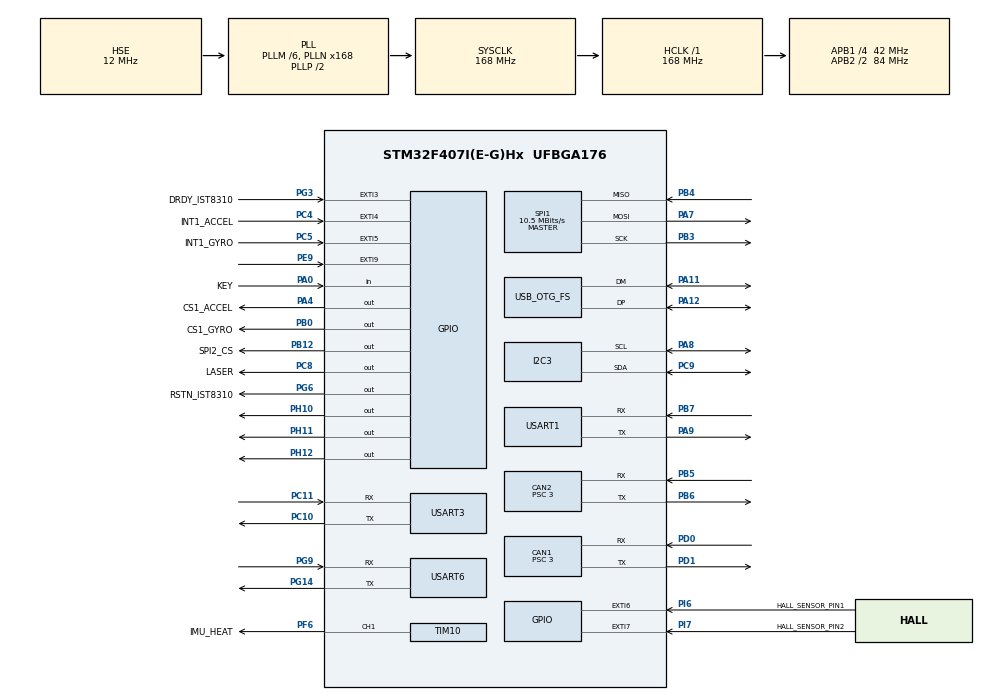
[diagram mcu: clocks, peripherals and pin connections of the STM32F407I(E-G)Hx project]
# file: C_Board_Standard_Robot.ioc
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CAN1.BS1=CAN_BS1_10TQ
CAN1.BS2=CAN_BS2_3TQ
CAN1.CalculateBaudRate=1000000
CAN1.CalculateTimeBit=1000
CAN1.CalculateTimeQuantum=71.42857142857143
CAN1.Prescaler=3
CAN2.BS1=CAN_BS1_10TQ
CAN2.BS2=CAN_BS2_3TQ
CAN2.CalculateBaudRate=1000000
CAN2.CalculateTimeBit=1000
CAN2.CalculateTimeQuantum=71.42857142857143
CAN2.Prescaler=3
Dma.Request0=SPI1_RX
Dma.Request1=SPI1_TX
Dma.Request2=USART1_RX
Dma.Request3=USART1_TX
Dma.Request4=USART3_RX
Dma.Request5=USART3_TX
Dma.Request6=USART6_RX
Dma.Request7=USART6_TX
Dma.SPI1_RX.0.Direction=DMA_PERIPH_TO_MEMORY
Dma.SPI1_RX.0.FIFOMode=DMA_FIFOMODE_DISABLE
Dma.SPI1_RX.0.Instance=DMA2_Stream0
Dma.SPI1_RX.0.MemDataAlignment=DMA_MDATAALIGN_BYTE
Dma.SPI1_RX.0.MemInc=DMA_MINC_ENABLE
Dma.SPI1_RX.0.Mode=DMA_NORMAL
Dma.SPI1_RX.0.PeriphDataAlignment=DMA_PDATAALIGN_BYTE
Dma.SPI1_RX.0.PeriphInc=DMA_PINC_DISABLE
Dma.SPI1_RX.0.Priority=DMA_PRIORITY_VERY_HIGH
Dma.SPI1_TX.1.Direction=DMA_MEMORY_TO_PERIPH
Dma.SPI1_TX.1.FIFOMode=DMA_FIFOMODE_DISABLE
Dma.SPI1_TX.1.Instance=DMA2_Stream3
Dma.SPI1_TX.1.MemDataAlignment=DMA_MDATAALIGN_BYTE
Dma.SPI1_TX.1.MemInc=DMA_MINC_ENABLE
Dma.SPI1_TX.1.Mode=DMA_NORMAL
Dma.SPI1_TX.1.PeriphDataAlignment=DMA_PDATAALIGN_BYTE
Dma.SPI1_TX.1.PeriphInc=DMA_PINC_DISABLE
Dma.SPI1_TX.1.Priority=DMA_PRIORITY_HIGH
Dma.USART1_RX.2.Direction=DMA_PERIPH_TO_MEMORY
Dma.USART1_RX.2.FIFOMode=DMA_FIFOMODE_DISABLE
Dma.USART1_RX.2.Instance=DMA2_Stream2
Dma.USART1_RX.2.MemDataAlignment=DMA_MDATAALIGN_BYTE
Dma.USART1_RX.2.MemInc=DMA_MINC_ENABLE
Dma.USART1_RX.2.Mode=DMA_NORMAL
Dma.USART1_RX.2.PeriphDataAlignment=DMA_PDATAALIGN_BYTE
Dma.USART1_RX.2.PeriphInc=DMA_PINC_DISABLE
Dma.USART1_RX.2.Priority=DMA_PRIORITY_VERY_HIGH
Dma.USART1_TX.3.Direction=DMA_MEMORY_TO_PERIPH
Dma.USART1_TX.3.FIFOMode=DMA_FIFOMODE_DISABLE
Dma.USART1_TX.3.Instance=DMA2_Stream7
Dma.USART1_TX.3.MemDataAlignment=DMA_MDATAALIGN_BYTE
Dma.USART1_TX.3.MemInc=DMA_MINC_ENABLE
Dma.USART1_TX.3.Mode=DMA_NORMAL
Dma.USART1_TX.3.PeriphDataAlignment=DMA_PDATAALIGN_BYTE
Dma.USART1_TX.3.PeriphInc=DMA_PINC_DISABLE
Dma.USART1_TX.3.Priority=DMA_PRIORITY_VERY_HIGH
Dma.USART3_RX.4.Direction=DMA_PERIPH_TO_MEMORY
Dma.USART3_RX.4.FIFOMode=DMA_FIFOMODE_DISABLE
Dma.USART3_RX.4.Instance=DMA1_Stream1
Dma.USART3_RX.4.MemDataAlignment=DMA_MDATAALIGN_BYTE
Dma.USART3_RX.4.MemInc=DMA_MINC_ENABLE
Dma.USART3_RX.4.Mode=DMA_NORMAL
Dma.USART3_RX.4.PeriphDataAlignment=DMA_PDATAALIGN_BYTE
Dma.USART3_RX.4.PeriphInc=DMA_PINC_DISABLE
Dma.USART3_RX.4.Priority=DMA_PRIORITY_VERY_HIGH
Dma.USART3_TX.5.Direction=DMA_MEMORY_TO_PERIPH
Dma.USART3_TX.5.FIFOMode=DMA_FIFOMODE_DISABLE
Dma.USART3_TX.5.Instance=DMA1_Stream3
Dma.USART3_TX.5.MemDataAlignment=DMA_MDATAALIGN_BYTE
Dma.USART3_TX.5.MemInc=DMA_MINC_ENABLE
Dma.USART3_TX.5.Mode=DMA_NORMAL
Dma.USART3_TX.5.PeriphDataAlignment=DMA_PDATAALIGN_BYTE
Dma.USART3_TX.5.PeriphInc=DMA_PINC_DISABLE
Dma.USART3_TX.5.Priority=DMA_PRIORITY_VERY_HIGH
Dma.USART6_RX.6.Direction=DMA_PERIPH_TO_MEMORY
Dma.USART6_RX.6.FIFOMode=DMA_FIFOMODE_DISABLE
Dma.USART6_RX.6.Instance=DMA2_Stream1
Dma.USART6_RX.6.MemDataAlignment=DMA_MDATAALIGN_BYTE
Dma.USART6_RX.6.MemInc=DMA_MINC_ENABLE
Dma.USART6_RX.6.Mode=DMA_NORMAL
Dma.USART6_RX.6.PeriphDataAlignment=DMA_PDATAALIGN_BYTE
Dma.USART6_RX.6.PeriphInc=DMA_PINC_DISABLE
Dma.USART6_RX.6.Priority=DMA_PRIORITY_VERY_HIGH
Dma.USART6_TX.7.Direction=DMA_MEMORY_TO_PERIPH
Dma.USART6_TX.7.FIFOMode=DMA_FIFOMODE_DISABLE
Dma.USART6_TX.7.Instance=DMA2_Stream6
Dma.USART6_TX.7.MemDataAlignment=DMA_MDATAALIGN_BYTE
Dma.USART6_TX.7.MemInc=DMA_MINC_ENABLE
Dma.USART6_TX.7.Mode=DMA_NORMAL
Dma.USART6_TX.7.PeriphDataAlignment=DMA_PDATAALIGN_BYTE
Dma.USART6_TX.7.PeriphInc=DMA_PINC_DISABLE
Dma.USART6_TX.7.Priority=DMA_PRIORITY_VERY_HIGH
FREERTOS.INCLUDE_eTaskGetState=1
FREERTOS.INCLUDE_pcTaskGetTaskName=1
FREERTOS.INCLUDE_uxTaskGetStackHighWaterMark=1
FREERTOS.INCLUDE_vTaskCleanUpResources=1
FREERTOS.INCLUDE_vTaskDelayUntil=1
FREERTOS.INCLUDE_xEventGroupSetBitFromISR=1
FREERTOS.INCLUDE_xQueueGetMutexHolder=1
FREERTOS.INCLUDE_xSemaphoreGetMutexHolder=1
FREERTOS.INCLUDE_xTaskAbortDelay=1
FREERTOS.INCLUDE_xTaskGetCurrentTaskHandle=1
FREERTOS.INCLUDE_xTaskGetHandle=1
FREERTOS.INCLUDE_xTimerPendFunctionCall=1
FREERTOS.Tasks01=INSTask,0,1024,StartINSTask,Default,NULL,Dynamic,NULL,NULL
FREERTOS.configTOTAL_HEAP_SIZE=24576
I2C3.I2C_Mode=I2C_Fast
Mcu.Family=STM32F4
Mcu.Name=STM32F407I(E-G)Hx
Mcu.Package=UFBGA176
NVIC.CAN1_RX0_IRQn=true\:5\:0\:false\:false\:true\:true\:true\:true\:true
NVIC.CAN1_TX_IRQn=true\:5\:0\:false\:false\:true\:true\:true\:true\:true
NVIC.CAN2_RX0_IRQn=true\:5\:0\:false\:false\:true\:true\:true\:true\:true
NVIC.CAN2_TX_IRQn=true\:5\:0\:false\:false\:true\:true\:true\:true\:true
NVIC.DMA1_Stream1_IRQn=true\:5\:0\:false\:false\:true\:true\:false\:true\:true
NVIC.DMA1_Stream3_IRQn=true\:5\:0\:false\:false\:true\:true\:false\:true\:true
NVIC.DMA2_Stream0_IRQn=true\:5\:0\:false\:false\:true\:true\:false\:true\:true
NVIC.DMA2_Stream1_IRQn=true\:5\:0\:false\:false\:true\:true\:false\:true\:true
NVIC.DMA2_Stream2_IRQn=true\:5\:0\:true\:false\:false\:true\:false\:true\:true
NVIC.DMA2_Stream3_IRQn=true\:5\:0\:true\:false\:false\:true\:false\:true\:true
NVIC.DMA2_Stream6_IRQn=true\:5\:0\:false\:false\:true\:true\:false\:true\:true
NVIC.DMA2_Stream7_IRQn=true\:5\:0\:false\:false\:true\:true\:false\:true\:true
NVIC.EXTI3_IRQn=true\:5\:0\:true\:false\:true\:true\:true\:true\:true
NVIC.EXTI4_IRQn=true\:5\:0\:true\:false\:true\:true\:true\:true\:true
NVIC.EXTI9_5_IRQn=true\:5\:0\:true\:false\:true\:true\:true\:true\:true
NVIC.OTG_FS_IRQn=true\:5\:0\:false\:false\:true\:true\:true\:true\:true
NVIC.PriorityGroup=NVIC_PRIORITYGROUP_4
NVIC.SPI1_IRQn=true\:5\:0\:false\:false\:true\:true\:true\:true\:true
NVIC.TIM1_BRK_TIM9_IRQn=true\:5\:0\:false\:false\:true\:true\:true\:true\:true
NVIC.TIM1_UP_TIM10_IRQn=true\:5\:0\:false\:false\:true\:true\:true\:true\:true
NVIC.TIM3_IRQn=true\:15\:0\:false\:false\:true\:false\:false\:true\:true
NVIC.TIM8_BRK_TIM12_IRQn=true\:5\:0\:false\:false\:true\:true\:true\:true\:true
NVIC.TIM8_UP_TIM13_IRQn=true\:5\:0\:false\:false\:true\:true\:true\:true\:true
NVIC.TimeBase=TIM3_IRQn
NVIC.TimeBaseIP=TIM3
NVIC.USART1_IRQn=true\:5\:0\:false\:false\:true\:true\:true\:true\:true
NVIC.USART3_IRQn=true\:5\:0\:false\:false\:true\:true\:true\:true\:true
NVIC.USART6_IRQn=true\:5\:0\:false\:false\:true\:true\:true\:true\:true
PA0-WKUP.GPIO_Label=KEY
PA0-WKUP.GPIO_PuPd=GPIO_PULLUP
PA0-WKUP.Signal=GPIO_Input
PA11.Mode=Device_Only
PA11.Signal=USB_OTG_FS_DM
PA12.Mode=Device_Only
PA12.Signal=USB_OTG_FS_DP
PA13.Mode=Serial_Wire
PA13.Signal=SYS_JTMS-SWDIO
PA14.Mode=Serial_Wire
PA14.Signal=SYS_JTCK-SWCLK
PA4.GPIO_Label=CS1_ACCEL
PA4.GPIO_PuPd=GPIO_PULLUP
PA4.GPIO_Speed=GPIO_SPEED_FREQ_HIGH
PA4.PinState=GPIO_PIN_SET
PA4.Signal=GPIO_Output
PA7.GPIO_PuPd=GPIO_PULLUP
PA7.Mode=Full_Duplex_Master
PA7.Signal=SPI1_MOSI
PA8.Mode=I2C
PA8.Signal=I2C3_SCL
PA9.Mode=Asynchronous
PA9.Signal=USART1_TX
PB0.GPIO_Label=CS1_GYRO
PB0.GPIO_PuPd=GPIO_PULLUP
PB0.GPIO_Speed=GPIO_SPEED_FREQ_HIGH
PB0.PinState=GPIO_PIN_SET
PB0.Signal=GPIO_Output
PB12.GPIO_Label=SPI2_CS
PB12.GPIO_PuPd=GPIO_PULLUP
PB12.GPIO_Speed=GPIO_SPEED_FREQ_MEDIUM
PB12.PinState=GPIO_PIN_SET
PB12.Signal=GPIO_Output
PB3.GPIO_PuPd=GPIO_PULLUP
PB3.Mode=Full_Duplex_Master
PB3.Signal=SPI1_SCK
PB4.GPIO_PuPd=GPIO_PULLUP
PB4.Mode=Full_Duplex_Master
PB4.Signal=SPI1_MISO
PB5.Mode=CAN_Activate
PB5.Signal=CAN2_RX
PB6.Mode=CAN_Activate
PB6.Signal=CAN2_TX
PB7.Mode=Asynchronous
PB7.Signal=USART1_RX
PC10.Mode=Asynchronous
PC10.Signal=USART3_TX
PC11.Mode=Asynchronous
PC11.Signal=USART3_RX
PC4.GPIO_Label=INT1_ACCEL
PC4.GPIO_ModeDefaultEXTI=GPIO_MODE_IT_FALLING
PC4.GPIO_PuPd=GPIO_PULLUP
PC4.Signal=GPXTI4
PC5.GPIO_Label=INT1_GYRO
PC5.GPIO_ModeDefaultEXTI=GPIO_MODE_IT_FALLING
PC5.GPIO_PuPd=GPIO_PULLUP
PC5.Signal=GPXTI5
PC8.GPIO_Label=LASER
PC8.Signal=GPIO_Output
PC9.Mode=I2C
PC9.Signal=I2C3_SDA
PD0.Mode=CAN_Activate
PD0.Signal=CAN1_RX
PD1.Mode=CAN_Activate
PD1.Signal=CAN1_TX
PE9.GPIO_PuPd=GPIO_PULLUP
PE9.Signal=GPXTI9
PF6.GPIO_Label=IMU_HEAT
PF6.GPIO_PuPd=GPIO_PULLUP
PF6.GPIO_Speed=GPIO_SPEED_FREQ_HIGH
PF6.Signal=S_TIM10_CH1
PG14.Mode=Asynchronous
PG14.Signal=USART6_TX
PG3.GPIO_Label=DRDY_IST8310
PG3.GPIO_ModeDefaultEXTI=GPIO_MODE_IT_FALLING
PG3.GPIO_PuPd=GPIO_PULLUP
PG3.Signal=GPXTI3
PG6.GPIO_Label=RSTN_IST8310
PG6.GPIO_PuPd=GPIO_PULLUP
PG6.GPIO_Speed=GPIO_SPEED_FREQ_MEDIUM
PG6.PinState=GPIO_PIN_SET
PG6.Signal=GPIO_Output
PG9.Mode=Asynchronous
PG9.Signal=USART6_RX
PH0-OSC_IN.Mode=HSE-External-Oscillator
PH0-OSC_IN.Signal=RCC_OSC_IN
PH1-OSC_OUT.Mode=HSE-External-Oscillator
PH1-OSC_OUT.Signal=RCC_OSC_OUT
PH10.GPIO_PuPd=GPIO_PULLUP
PH10.Signal=GPIO_Output
PH11.GPIO_PuPd=GPIO_PULLUP
PH11.Signal=GPIO_Output
PH12.GPIO_PuPd=GPIO_PULLUP
PH12.Signal=GPIO_Output
PI6.GPIO_Label=HALL_SENSOR_PIN1
PI6.Signal=GPXTI6
PI7.GPIO_Label=HALL_SENSOR_PIN2
PI7.Signal=GPXTI7
ProjectManager.HeapSize=0x2000
ProjectManager.StackSize=0x2000
ProjectManager.TargetToolchain=MDK-ARM V5.32
RCC.48MHZClocksFreq_Value=48000000
RCC.AHBFreq_Value=168000000
RCC.APB1CLKDivider=RCC_HCLK_DIV4
RCC.APB1Freq_Value=42000000
RCC.APB1TimFreq_Value=84000000
RCC.APB2CLKDivider=RCC_HCLK_DIV2
RCC.APB2Freq_Value=84000000
RCC.APB2TimFreq_Value=168000000
RCC.CortexFreq_Value=168000000
RCC.HCLKFreq_Value=168000000
RCC.HSE_VALUE=12000000
RCC.HSI_VALUE=16000000
RCC.LSE_VALUE=32768
RCC.PLLM=6
RCC.PLLN=168
RCC.PLLQ=7
RCC.PLLSourceVirtual=RCC_PLLSOURCE_HSE
RCC.RCC_RTC_Clock_SourceVirtual=RCC_RTCCLKSOURCE_HSE_DIV30
RCC.RCC_RTC_Clock_Source_FROM_HSE=RCC_RTCCLKSOURCE_HSE_DIV30
RCC.SYSCLKFreq_VALUE=168000000
RCC.SYSCLKSource=RCC_SYSCLKSOURCE_PLLCLK
RCC.VCOOutputFreq_Value=336000000
SH.S_TIM10_CH1.0=TIM10_CH1,PWM Generation1 CH1
SPI1.BaudRatePrescaler=SPI_BAUDRATEPRESCALER_8
SPI1.CLKPhase=SPI_PHASE_2EDGE
SPI1.CLKPolarity=SPI_POLARITY_HIGH
SPI1.CalculateBaudRate=10.5 MBits/s
SPI1.Direction=SPI_DIRECTION_2LINES
SPI1.Mode=SPI_MODE_MASTER
SPI1.VirtualType=VM_MASTER
TIM1.Period=10000-1
TIM1.Prescaler=16800-1
TIM10.Channel=TIM_CHANNEL_1
TIM10.Period=2000-1
TIM10.Prescaler=84-1
TIM2.Period=100-1
TIM2.Prescaler=8400
TIM9.Period=100-1
TIM9.Prescaler=16800-1
USART1.VirtualMode=VM_ASYNC
USART3.VirtualMode=VM_ASYNC
USART6.VirtualMode=VM_ASYNC
USB_DEVICE.CLASS_NAME_FS=CDC
USB_DEVICE.MANUFACTURER_STRING-CDC_FS=YueLuEmbedded
USB_DEVICE.PID_CDC_FS=202
USB_DEVICE.PRODUCT_STRING_CDC_FS=Vision Comm Port
USB_DEVICE.VirtualMode-CDC_FS=Cdc
USB_DEVICE.VirtualModeFS=Cdc_FS
USB_OTG_FS.VirtualMode=Device_Only
VP_FREERTOS_VS_CMSIS_V1.Mode=CMSIS_V1
VP_SYS_VS_tim3.Mode=TIM3
VP_TIM10_VS_ClockSourceINT.Mode=Enable_Timer
VP_TIM1_VS_ClockSourceINT.Mode=Internal
VP_TIM2_VS_ClockSourceINT.Mode=Internal
VP_TIM8_VS_ClockSourceINT.Mode=Internal
VP_TIM9_VS_ClockSourceINT.Mode=Internal
VP_USB_DEVICE_VS_USB_DEVICE_CDC_FS.Mode=CDC_FS
board=custom

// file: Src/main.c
/* USER CODE BEGIN Header */
/**
 ******************************************************************************
 * @file           : main.c
 * @brief          : Main program body
 ******************************************************************************
 * @attention
 *
 * Copyright (c) 2023 STMicroelectronics.
 * All rights reserved.
 *
 * This software is licensed under terms that can be found in the LICENSE file
 * in the root directory of this software component.
 * If no LICENSE file comes with this software, it is provided AS-IS.
 *
 ******************************************************************************
 */
/* USER CODE END Header */
#include "main.h"
#include "cmsis_os.h"
#include "can.h"
#include "dma.h"
#include "i2c.h"
#include "spi.h"
#include "tim.h"
#include "usart.h"
#include "usb_device.h"
#include "gpio.h"

/* USER CODE BEGIN Includes */
#include "INS_task.h"
#include "drv_can.h"
#include "drv_usart.h"
#include "bsp_dwt.h"
/* USER CODE END Includes */

void SystemClock_Config(void);
void MX_FREERTOS_Init(void);

/* USER CODE BEGIN 0 */
// 全局变量
uint16_t can_cnt_2;
float target_speed[7] = {0};                 // 实测最大空载转速320rpm
float target_speed_can_2[7] = {0};           // 实测最大空载转速320rpm

uint8_t can_flag = 0;
double step = 9158 / 660;
double r;
double target_v;
int16_t target_int1;
int16_t target_int2; // 用于叠加旋转和直行
double target_curl;
float yuntai_step = 60 * (1024 - 364);

// 拨盘
float time = 100;   // 时间
float time_count;   // 时间计数值
uint8_t flag_shoot; // 标志位
float round_shoot;  // 转动圈数
float down;
float up;

// Yaw轴
int16_t target_angle = 4096;
int16_t err_angle;
int16_t max_yaw_speed;
float small;
float angle_limit = 8191; // 转角的最大值

uint8_t rx_data[8];
/* USER CODE END 0 */

int main(void)
{

  /* MCU Configuration--------------------------------------------------------*/

  /* Reset of all peripherals, Initializes the Flash interface and the Systick. */
  HAL_Init();

  /* Configure the system clock */
  SystemClock_Config();

  /* Initialize all configured peripherals */
  MX_GPIO_Init();
  MX_DMA_Init();
  MX_SPI1_Init();
  MX_TIM10_Init();
  MX_CAN1_Init();
  MX_CAN2_Init();
  MX_I2C3_Init();
  MX_TIM1_Init();
  MX_TIM2_Init();
  MX_TIM8_Init();
  MX_TIM9_Init();
  MX_USART1_UART_Init();
  MX_USART3_UART_Init();
  MX_USART6_UART_Init();
  /* USER CODE BEGIN 2 */
  HAL_TIM_PWM_Start(&htim10, TIM_CHANNEL_1);
  HAL_NVIC_SetPriority(TIM2_IRQn, 0, 0); // 修改TIM2中断优先级
  //	HAL_NVIC_SetPriority(SysTick_IRQn,1,1);//调高HAL_Delay的时钟中断优先级
  CAN1_Init();
  CAN2_Init();
  USART6_Init();
  USART3_Init();
  HAL_TIM_Base_Start_IT(&htim1); // 开启定时器1并打开中断,记得修改优先级
  DWT_Init(168);
  // __HAL_UART_ENABLE_IT(&huart3, UART_IT_IDLE); // 使能空闲中断
  while (BMI088_init(&hspi1, 1) != BMI088_NO_ERROR)
    ;
  /* USER CODE END 2 */

  /* Call init function for freertos objects (in freertos.c) */
  MX_FREERTOS_Init();

  /* Start scheduler */
  osKernelStart();

  /* We should never get here as control is now taken by the scheduler */
  /* Infinite loop */
  while (1)
  {

  }
}

void SystemClock_Config(void)
{
  RCC_OscInitTypeDef RCC_OscInitStruct = {0};
  RCC_ClkInitTypeDef RCC_ClkInitStruct = {0};

  /** Configure the main internal regulator output voltage
  */
  __HAL_RCC_PWR_CLK_ENABLE();
  __HAL_PWR_VOLTAGESCALING_CONFIG(PWR_REGULATOR_VOLTAGE_SCALE1);

  /** Initializes the RCC Oscillators according to the specified parameters
  * in the RCC_OscInitTypeDef structure.
  */
  RCC_OscInitStruct.OscillatorType = RCC_OSCILLATORTYPE_HSE;
  RCC_OscInitStruct.HSEState = RCC_HSE_ON;
  RCC_OscInitStruct.PLL.PLLState = RCC_PLL_ON;
  RCC_OscInitStruct.PLL.PLLSource = RCC_PLLSOURCE_HSE;
  RCC_OscInitStruct.PLL.PLLM = 6;
  RCC_OscInitStruct.PLL.PLLN = 168;
  RCC_OscInitStruct.PLL.PLLP = RCC_PLLP_DIV2;
  RCC_OscInitStruct.PLL.PLLQ = 7;
  if (HAL_RCC_OscConfig(&RCC_OscInitStruct) != HAL_OK)
  {
    Error_Handler();
  }

  /** Initializes the CPU, AHB and APB buses clocks
  */
  RCC_ClkInitStruct.ClockType = RCC_CLOCKTYPE_HCLK|RCC_CLOCKTYPE_SYSCLK
                              |RCC_CLOCKTYPE_PCLK1|RCC_CLOCKTYPE_PCLK2;
  RCC_ClkInitStruct.SYSCLKSource = RCC_SYSCLKSOURCE_PLLCLK;
  RCC_ClkInitStruct.AHBCLKDivider = RCC_SYSCLK_DIV1;
  RCC_ClkInitStruct.APB1CLKDivider = RCC_HCLK_DIV4;
  RCC_ClkInitStruct.APB2CLKDivider = RCC_HCLK_DIV2;

  if (HAL_RCC_ClockConfig(&RCC_ClkInitStruct, FLASH_LATENCY_5) != HAL_OK)
  {
    Error_Handler();
  }
}

void HAL_TIM_PeriodElapsedCallback(TIM_HandleTypeDef *htim)
{
  if (htim->Instance == TIM3) {
    HAL_IncTick();
  }
}

void Error_Handler(void)
{
  __disable_irq();
  while (1)
  {
  }
}

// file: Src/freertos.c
/* USER CODE BEGIN Header */
/**
 ******************************************************************************
 * File Name          : freertos.c
 * Description        : Code for freertos applications
 ******************************************************************************
 * @attention
 *
 * <h2><center>&copy; Copyright (c) 2021 STMicroelectronics.
 * All rights reserved.</center></h2>
 *
 * This software component is licensed by ST under Ultimate Liberty license
 * SLA0044, the "License"; You may not use this file except in compliance with
 * the License. You may obtain a copy of the License at:
 *                             www.st.com/SLA0044
 *
 ******************************************************************************
 */
/* USER CODE END Header */

#include "FreeRTOS.h"
#include "task.h"
#include "main.h"
#include "cmsis_os.h"

/* USER CODE BEGIN Includes */
#include "rc_potocal.h"
#include "arm_math.h"
#include "INS_task.h"
#include "exchange.h"
#include "Chassis_task.h"
#include "super_cap.h"
#include "UI_task.h"
#include "Gimbal_task.h"
#include "Shoot_task.h"
#include "stm32f4xx_it.h"
/* USER CODE END Includes */

/* USER CODE BEGIN Variables */
osThreadId Chassis_taskHandle;
osThreadId myTask02Handle;
osThreadId super_capHandle;
osThreadId UI_taskHandle;
osThreadId Gimbal_taskHandle;
osThreadId shoot_taskHandle;
osThreadId INSTaskHandle;
osThreadId exchangeTaskHandle;
osThreadId defaultTaskHandle;
/* USER CODE END Variables */
// osThreadId StartDefaultTask;
osThreadId INSTaskHandle;

void StartINSTask(void const * argument);
void StartDefaultTask(void const *argument);
extern void MX_USB_DEVICE_Init(void);
void MX_FREERTOS_Init(void); /* (MISRA C 2004 rule 8.1) */

/* GetIdleTaskMemory prototype (linked to static allocation support) */
void vApplicationGetIdleTaskMemory( StaticTask_t **ppxIdleTaskTCBBuffer, StackType_t **ppxIdleTaskStackBuffer, uint32_t *pulIdleTaskStackSize );

/* GetTimerTaskMemory prototype (linked to static allocation support) */
void vApplicationGetTimerTaskMemory( StaticTask_t **ppxTimerTaskTCBBuffer, StackType_t **ppxTimerTaskStackBuffer, uint32_t *pulTimerTaskStackSize );

/* USER CODE BEGIN GET_IDLE_TASK_MEMORY */
static StaticTask_t xIdleTaskTCBBuffer;
static StackType_t xIdleStack[configMINIMAL_STACK_SIZE];

void vApplicationGetIdleTaskMemory(StaticTask_t **ppxIdleTaskTCBBuffer, StackType_t **ppxIdleTaskStackBuffer, uint32_t *pulIdleTaskStackSize)
{
  *ppxIdleTaskTCBBuffer = &xIdleTaskTCBBuffer;
  *ppxIdleTaskStackBuffer = &xIdleStack[0];
  *pulIdleTaskStackSize = configMINIMAL_STACK_SIZE;
  /* place for user code */
}
/* USER CODE END GET_IDLE_TASK_MEMORY */

/* USER CODE BEGIN GET_TIMER_TASK_MEMORY */
static StaticTask_t xTimerTaskTCBBuffer;
static StackType_t xTimerStack[configTIMER_TASK_STACK_DEPTH];

void vApplicationGetTimerTaskMemory(StaticTask_t **ppxTimerTaskTCBBuffer, StackType_t **ppxTimerTaskStackBuffer, uint32_t *pulTimerTaskStackSize)
{
  *ppxTimerTaskTCBBuffer = &xTimerTaskTCBBuffer;
  *ppxTimerTaskStackBuffer = &xTimerStack[0];
  *pulTimerTaskStackSize = configTIMER_TASK_STACK_DEPTH;
  /* place for user code */
}
/* USER CODE END GET_TIMER_TASK_MEMORY */

void MX_FREERTOS_Init(void) {

  /* Create the thread(s) */
  /* definition and creation of INSTask */
  // osThreadDef(INSTask, StartINSTask, osPriorityNormal, 0, 1024);
  // INSTaskHandle = osThreadCreate(osThread(INSTask), NULL);

  /* USER CODE BEGIN RTOS_THREADS */
  /* add threads, ... */
  osThreadDef(INSTask, StartINSTask, osPriorityNormal, 0, 2048);
  INSTaskHandle = osThreadCreate(osThread(INSTask), NULL);

  osThreadDef(defaultTask, StartDefaultTask, osPriorityNormal, 0, 128);
  defaultTaskHandle = osThreadCreate(osThread(defaultTask), NULL);

  osThreadDef(Chassistask, Chassis_task, osPriorityRealtime, 0, 512); // �����ƶ�����
  Chassis_taskHandle = osThreadCreate(osThread(Chassistask), NULL);

  osThreadDef(UItask, UI_Task, osPriorityRealtime, 0, 512);
  UI_taskHandle = osThreadCreate(osThread(UItask), NULL);

  osThreadDef(exchangeTask, exchange_task, osPriorityNormal, 0, 128);
  exchangeTaskHandle = osThreadCreate(osThread(exchangeTask), NULL);

  osThreadDef(GimbalTask, Gimbal_task, osPriorityRealtime, 0, 512);
  Gimbal_taskHandle = osThreadCreate(osThread(GimbalTask), NULL);

  osThreadDef(shootTask, Shoot_task, osPriorityNormal, 0, 256);
  shoot_taskHandle = osThreadCreate(osThread(shootTask), NULL);
  /* USER CODE END RTOS_THREADS */

}

void StartINSTask(void const * argument)
{
  /* init code for USB_DEVICE */
  MX_USB_DEVICE_Init();
  /* USER CODE BEGIN StartINSTask */
  INS_Init();
  /* Infinite loop */
  for (;;)
  {
    INS_Task();
    osDelay(1);
  }
  /* USER CODE END StartINSTask */
}

/* USER CODE BEGIN Application */
void StartDefaultTask(void const *argument)
{
  /* USER CODE BEGIN StartDefaultTask */
  HAL_GPIO_WritePin(GPIOH, GPIO_PIN_11, GPIO_PIN_SET);
  HAL_GPIO_WritePin(GPIOH, GPIO_PIN_10, GPIO_PIN_SET);
  // uint8_t TIM1_flag = 1; // ��֪��bug // 这东西有�?么用啊？
  /* Infinite loop */
  for (;;)
  {
    osDelay(1);
  }
  /* USER CODE END StartDefaultTask */
}
/* USER CODE END Application */
